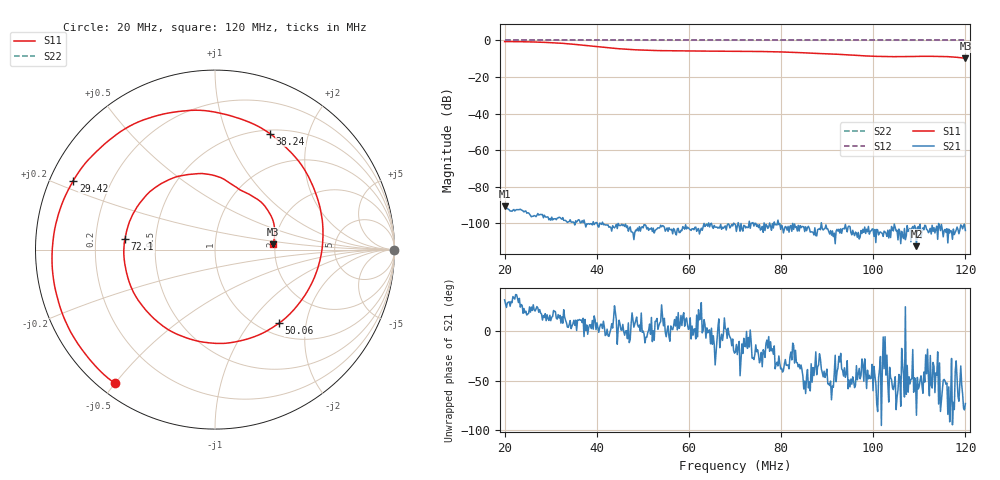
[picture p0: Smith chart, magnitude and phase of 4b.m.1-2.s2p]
! Anritsu VNA Master:  Model: MS2036C/10/77
! SN:  1601066
! /bd0/18may26.balun/4b.me1.s2p
! Existing Calibration Information:
! TYPE:  Current Settings,  Active Cal Settings
! TIME:  05/26/2018 04:32:53 PM,  05/26/2018 04:28:16 PM
! INTERNAL TEMP:  56.0 C,  56.3 C
! # POINTS:  500,  500
! START FREQ:  20.000 MHz,  20.000 MHz
! STOP FREQ:  120.000 MHz,  120.000 MHz
! SOURCE POWER:  High,  High
! IFBW:  50 Hz,  50 Hz
! AVG FACTOR:  1 ,  1
! REF PLANE 1:  0 mm,  0 mm
! REF PLANE 2:  0 mm,  0 mm
! CAL TYPE:  Full S11,  Full S11
! CAL METHOD:  SOLT,  SOLT
! CAL LINE TYPE:  Coax,  Coax
! DUT PORT 1:  K-Conn(M),  K-Conn(M)
! DUT PORT 2:  K-Conn(M),  K-Conn(M)
! CAL STATUS:  OK: Accuracy High,  --
# GHZ S DB R 50.0
! FREQ.GHZ  S11DB  S11A  S21DB  S21A  S12DB  S12A  S22DB  S22A
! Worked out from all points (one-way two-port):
!   500 points, 20 MHz to 120 MHz, reference 50 ohm
!   highest |S21| = -90.73 dB at 20 MHz (marker M1); lowest = -112.6 dB at 109.4 MHz (marker M2)
!   lowest |S11| = -9.8 dB at 120 MHz (marker M3), VSWR 1.96, Z = 97.6 + j6.55 ohm
!   |S11| at or under -10 dB: nowhere
!   |S22| runs from 0.0 to 0.0 dB; largest |S21 - S12| = 1
!   S11 on the Smith chart (normalised r, x): 20 MHz: 0.04, -0.50; 29.42 MHz: 0.07, +0.23; 38.24 MHz: 0.54, +1.44; 50.06 MHz: 1.21, -1.41; 72.1 MHz: 0.33, +0.05; 120 MHz: 1.95, +0.13
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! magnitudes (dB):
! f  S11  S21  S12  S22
! 20 MHz  -0.6  -90.7  0.0  0.0
! 25.61 MHz  -0.8  -95.7  0.0  0.0
! 29.42 MHz  -1.1  -96.6  0.0  0.0
! 32.63 MHz  -1.6  -97.0  0.0  0.0
! 36.83 MHz  -2.6  -98.6  0.0  0.0
! 38.24 MHz  -2.9  -100.3  0.0  0.0
! 44.25 MHz  -4.4  -100.7  0.0  0.0
! 47.25 MHz  -5.0  -102.0  0.0  0.0
! 50.06 MHz  -5.3  -102.6  0.0  0.0
! 53.47 MHz  -5.6  -102.6  0.0  0.0
! 70.1 MHz  -5.9  -100.9  0.0  0.0
! 72.1 MHz  -5.9  -101.4  0.0  0.0
! 79.92 MHz  -6.3  -103.4  0.0  0.0
! 86.73 MHz  -7.0  -104.8  0.0  0.0
! 90.94 MHz  -7.4  -106.5  0.0  0.0
! 99.16 MHz  -8.6  -106.0  0.0  0.0
! 103.4 MHz  -8.9  -108.1  0.0  0.0
! 109.4 MHz  -8.7  -112.6  0.0  0.0
! 112 MHz  -8.7  -105.2  0.0  0.0
! 115.8 MHz  -8.8  -105.0  0.0  0.0
! 117.8 MHz  -9.1  -104.9  0.0  0.0
! 120 MHz  -9.8  -104.0  0.0  0.0
